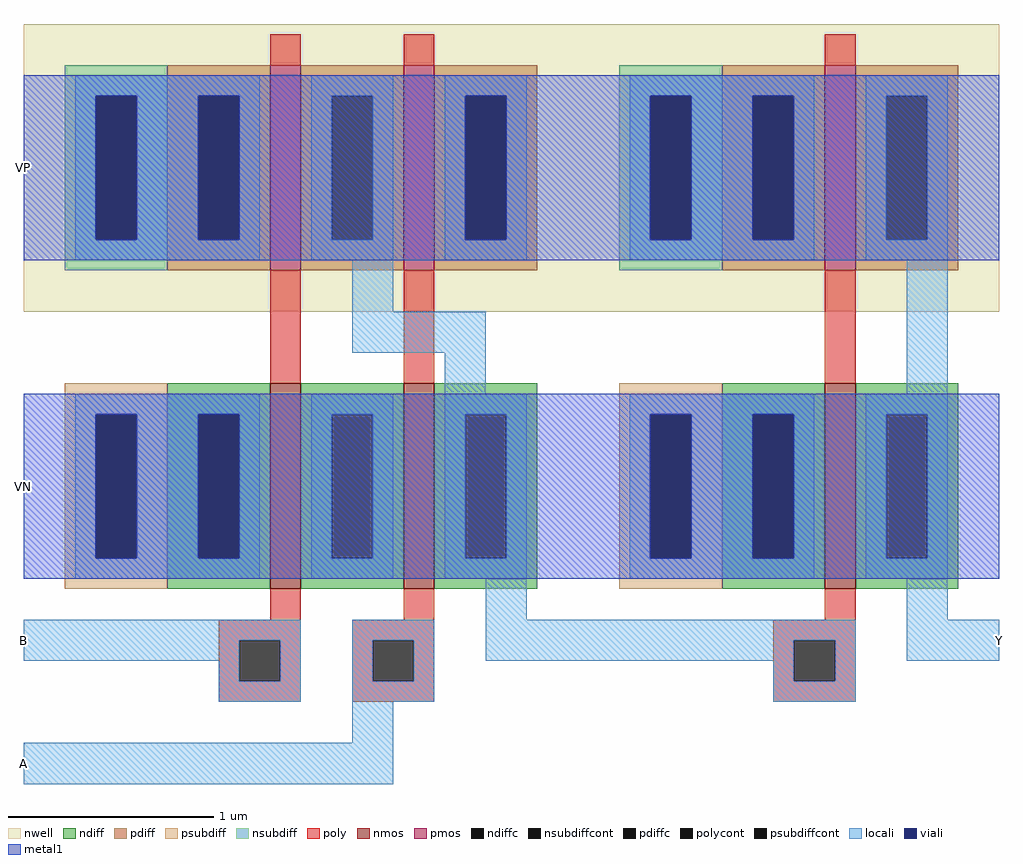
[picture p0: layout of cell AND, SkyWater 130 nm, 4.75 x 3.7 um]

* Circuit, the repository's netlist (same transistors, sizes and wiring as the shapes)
* NGSPICE file created from AND.ext - technology: sky130A

.subckt inverter A Y VP VN
X0 Y A VP VP sky130_fd_pr__pfet_01v8 ad=0.5 pd=3 as=0.5 ps=3 w=1 l=0.15
X1 Y A VN VN sky130_fd_pr__nfet_01v8 ad=0.5 pd=3 as=0.5 ps=3 w=1 l=0.15
.ends

.subckt NAND A B Y VP VN
X0 a_30_n10# B VN VN sky130_fd_pr__nfet_01v8 ad=0.25 pd=1.5 as=0.5 ps=3 w=1 l=0.15
X1 Y B VP VP sky130_fd_pr__pfet_01v8 ad=0.25 pd=1.5 as=0.5 ps=3 w=1 l=0.15
X2 VP A Y VP sky130_fd_pr__pfet_01v8 ad=0.5 pd=3 as=0.25 ps=1.5 w=1 l=0.15
X3 Y A a_30_n10# VN sky130_fd_pr__nfet_01v8 ad=0.5 pd=3 as=0.25 ps=1.5 w=1 l=0.15
.ends


* Top level circuit AND

Xinverter_0 NAND_0/Y Y VP VN inverter
XNAND_0 A B NAND_0/Y VP VN NAND
.end

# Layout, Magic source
magic
tech sky130A
<< locali >>
rect 0 60 25 80
rect 450 60 475 80
rect 0 0 25 20
<< metal1 >>
rect 0 255 25 345
rect 0 100 25 190
use inverter  inverter_0
transform 1 0 400 0 1 120
box -130 -80 75 250
use NAND  NAND_0
transform 1 0 120 0 1 100
box -120 -100 150 270
<< labels >>
rlabel metal1 0 300 0 300 7 VP
rlabel metal1 0 145 0 145 7 VN
rlabel locali 475 70 475 70 3 Y
rlabel locali 0 70 0 70 7 B
rlabel locali 0 10 0 10 7 A
<< end >>

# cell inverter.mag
magic
tech sky130A
<< nwell >>
rect -130 110 75 250
<< nmos >>
rect -10 -25 5 75
<< pmos >>
rect -10 130 5 230
<< ndiff >>
rect -60 60 -10 75
rect -60 -10 -45 60
rect -25 -10 -10 60
rect -60 -25 -10 -10
rect 5 60 55 75
rect 5 -10 20 60
rect 40 -10 55 60
rect 5 -25 55 -10
<< pdiff >>
rect -60 215 -10 230
rect -60 145 -45 215
rect -25 145 -10 215
rect -60 130 -10 145
rect 5 215 55 230
rect 5 145 20 215
rect 40 145 55 215
rect 5 130 55 145
<< ndiffc >>
rect -45 -10 -25 60
rect 20 -10 40 60
<< pdiffc >>
rect -45 145 -25 215
rect 20 145 40 215
<< psubdiff >>
rect -110 60 -60 75
rect -110 -10 -95 60
rect -75 -10 -60 60
rect -110 -25 -60 -10
<< nsubdiff >>
rect -110 215 -60 230
rect -110 145 -95 215
rect -75 145 -60 215
rect -110 130 -60 145
<< psubdiffcont >>
rect -95 -10 -75 60
<< nsubdiffcont >>
rect -95 145 -75 215
<< poly >>
rect -10 230 5 245
rect -10 75 5 130
rect -10 -40 5 -25
rect -35 -50 5 -40
rect -35 -70 -25 -50
rect -5 -70 5 -50
rect -35 -80 5 -70
<< polycont >>
rect -25 -70 -5 -50
<< locali >>
rect -105 215 -15 225
rect -105 145 -95 215
rect -75 145 -45 215
rect -25 145 -15 215
rect -105 135 -15 145
rect 10 215 50 225
rect 10 145 20 215
rect 40 145 50 215
rect 10 135 50 145
rect 30 70 50 135
rect -105 60 -15 70
rect -105 -10 -95 60
rect -75 -10 -45 60
rect -25 -10 -15 60
rect -105 -20 -15 -10
rect 10 60 50 70
rect 10 -10 20 60
rect 40 -10 50 60
rect 10 -20 50 -10
rect 30 -40 50 -20
rect -130 -50 5 -40
rect -130 -60 -25 -50
rect -35 -70 -25 -60
rect -5 -70 5 -50
rect 30 -60 75 -40
rect -35 -80 5 -70
<< viali >>
rect -95 145 -75 215
rect -45 145 -25 215
rect -95 -10 -75 60
rect -45 -10 -25 60
<< metal1 >>
rect -130 215 75 225
rect -130 145 -95 215
rect -75 145 -45 215
rect -25 145 75 215
rect -130 135 75 145
rect -130 60 75 70
rect -130 -10 -95 60
rect -75 -10 -45 60
rect -25 -10 75 60
rect -130 -20 75 -10
<< labels >>
rlabel locali 75 -50 75 -50 3 Y
port 2 e
rlabel locali -130 -50 -130 -50 7 A
port 1 w
rlabel metal1 -130 25 -130 25 7 VN
port 4 w
rlabel metal1 -130 180 -130 180 7 VP
port 3 w
<< end >>

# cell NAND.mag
magic
tech sky130A
<< nwell >>
rect -120 130 150 270
<< nmos >>
rect 0 -5 15 95
rect 65 -5 80 95
<< pmos >>
rect 0 150 15 250
rect 65 150 80 250
<< ndiff >>
rect -50 80 0 95
rect -50 10 -35 80
rect -15 10 0 80
rect -50 -5 0 10
rect 15 80 65 95
rect 15 10 30 80
rect 50 10 65 80
rect 15 -5 65 10
rect 80 80 130 95
rect 80 10 95 80
rect 115 10 130 80
rect 80 -5 130 10
<< pdiff >>
rect -50 235 0 250
rect -50 165 -35 235
rect -15 165 0 235
rect -50 150 0 165
rect 15 235 65 250
rect 15 165 30 235
rect 50 165 65 235
rect 15 150 65 165
rect 80 235 130 250
rect 80 165 95 235
rect 115 165 130 235
rect 80 150 130 165
<< ndiffc >>
rect -35 10 -15 80
rect 30 10 50 80
rect 95 10 115 80
<< pdiffc >>
rect -35 165 -15 235
rect 30 165 50 235
rect 95 165 115 235
<< psubdiff >>
rect -100 80 -50 95
rect -100 10 -85 80
rect -65 10 -50 80
rect -100 -5 -50 10
<< nsubdiff >>
rect -100 235 -50 250
rect -100 165 -85 235
rect -65 165 -50 235
rect -100 150 -50 165
<< psubdiffcont >>
rect -85 10 -65 80
<< nsubdiffcont >>
rect -85 165 -65 235
<< poly >>
rect 0 250 15 265
rect 65 250 80 265
rect 0 95 15 150
rect 65 95 80 150
rect 0 -20 15 -5
rect 65 -20 80 -5
rect -25 -30 15 -20
rect -25 -50 -15 -30
rect 5 -50 15 -30
rect -25 -60 15 -50
rect 40 -30 80 -20
rect 40 -50 50 -30
rect 70 -50 80 -30
rect 40 -60 80 -50
<< polycont >>
rect -15 -50 5 -30
rect 50 -50 70 -30
<< locali >>
rect -95 235 -5 245
rect -95 165 -85 235
rect -65 165 -35 235
rect -15 165 -5 235
rect -95 155 -5 165
rect 20 235 60 245
rect 20 165 30 235
rect 50 165 60 235
rect 20 155 60 165
rect 85 235 125 245
rect 85 165 95 235
rect 115 165 125 235
rect 85 155 125 165
rect 40 130 60 155
rect 40 110 105 130
rect 85 90 105 110
rect -95 80 -5 90
rect -95 10 -85 80
rect -65 10 -35 80
rect -15 10 -5 80
rect -95 0 -5 10
rect 20 80 60 90
rect 20 10 30 80
rect 50 10 60 80
rect 20 0 60 10
rect 85 80 125 90
rect 85 10 95 80
rect 115 10 125 80
rect 85 0 125 10
rect 105 -20 125 0
rect -120 -30 15 -20
rect -120 -40 -15 -30
rect -25 -50 -15 -40
rect 5 -50 15 -30
rect -25 -60 15 -50
rect 40 -30 80 -20
rect 40 -50 50 -30
rect 70 -50 80 -30
rect 105 -40 150 -20
rect 40 -60 80 -50
rect 40 -80 60 -60
rect -120 -100 60 -80
<< viali >>
rect -85 165 -65 235
rect -35 165 -15 235
rect 95 165 115 235
rect -85 10 -65 80
rect -35 10 -15 80
<< metal1 >>
rect -120 235 150 245
rect -120 165 -85 235
rect -65 165 -35 235
rect -15 165 95 235
rect 115 165 150 235
rect -120 155 150 165
rect -120 80 150 90
rect -120 10 -85 80
rect -65 10 -35 80
rect -15 10 150 80
rect -120 0 150 10
<< labels >>
rlabel locali 150 -30 150 -30 3 Y
port 3 e
rlabel metal1 -120 45 -120 45 7 VN
port 5 w
rlabel metal1 -120 200 -120 200 7 VP
port 4 w
rlabel locali -120 -90 -120 -90 7 A
port 1 w
rlabel locali -120 -30 -120 -30 7 B
port 2 w
<< end >>
